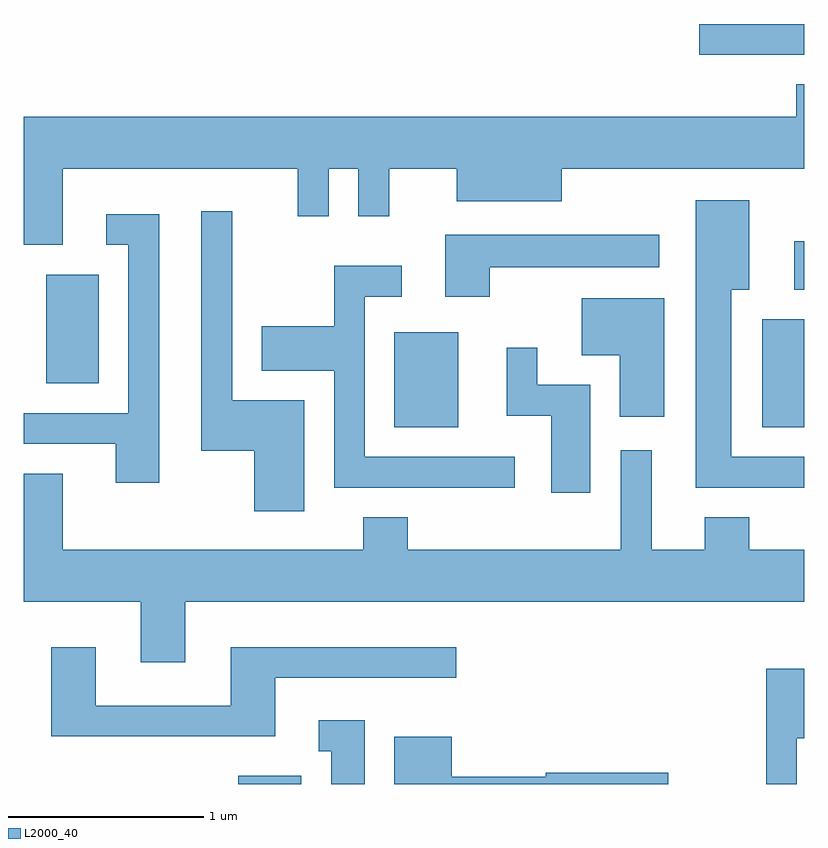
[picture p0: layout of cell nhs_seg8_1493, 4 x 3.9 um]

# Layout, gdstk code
import gdstk
lib = gdstk.Library(unit=1e-6, precision=1e-09)
def R(c, l, rs):  # rectangles x0, y0, x1, y1
    for r in rs: c.add(gdstk.rectangle(r[:2], r[2:], *l))
def P(c, l, *ps):  # polygons
    for p in ps: c.add(gdstk.Polygon(p, *l))
L2000_40 = (2000, 40)

nhs_seg8_1493 = lib.new_cell('nhs_seg8_1493')
R(nhs_seg8_1493, L2000_40, [(230.711,1864.342,231.034,1864.384), (231.511,1866.171,231.839,1866.659), (233.396,1866.171,233.611,1866.724), (229.726,1866.396,229.994,1866.954), (233.561,1866.876,233.611,1867.124), (233.073,1868.081,233.611,1868.239)])
P(nhs_seg8_1493, L2000_40, [(229.809,1867.496),(231.016,1867.496),(231.016,1867.253),(231.174,1867.253),(231.174,1867.496),(231.326,1867.496),(231.326,1867.253),(231.484,1867.253),(231.484,1867.496),(231.831,1867.496),(231.831,1867.331),(232.369,1867.331),(232.369,1867.496),(233.611,1867.496),(233.611,1867.929),(233.571,1867.929),(233.571,1867.764),(229.611,1867.764),(229.611,1867.106),(229.809,1867.106)],
  [(233.611,1866.019),(233.239,1866.019),(233.239,1866.876),(233.329,1866.876),(233.329,1867.334),(233.056,1867.334),(233.056,1865.861),(233.611,1865.861)],
  [(231.049,1866.309),(230.679,1866.309),(230.679,1867.278),(230.521,1867.278),(230.521,1866.051),(230.791,1866.051),(230.791,1865.741),(231.049,1865.741)],
  [(230.304,1867.264),(230.033,1867.264),(230.033,1867.106),(230.146,1867.106),(230.146,1866.244),(229.611,1866.244),(229.611,1866.086),(230.081,1866.086),(230.081,1865.886),(230.304,1865.886)],
  [(231.999,1866.991),(232.868,1866.991),(232.868,1867.159),(231.771,1867.159),(231.771,1866.841),(231.999,1866.841)],
  [(232.128,1866.019),(231.359,1866.019),(231.359,1866.841),(231.548,1866.841),(231.548,1866.999),(231.201,1866.999),(231.201,1866.689),(230.831,1866.689),(230.831,1866.461),(231.201,1866.461),(231.201,1865.861),(232.128,1865.861)],
  [(232.894,1866.834),(232.471,1866.834),(232.471,1866.541),(232.666,1866.541),(232.666,1866.226),(232.894,1866.226)],
  [(232.514,1866.389),(232.244,1866.389),(232.244,1866.578),(232.086,1866.578),(232.086,1866.231),(232.316,1866.231),(232.316,1865.836),(232.514,1865.836)],
  [(230.439,1865.276),(233.611,1865.276),(233.611,1865.544),(233.329,1865.544),(233.329,1865.709),(233.101,1865.709),(233.101,1865.544),(232.829,1865.544),(232.829,1866.053),(232.671,1866.053),(232.671,1865.544),(231.579,1865.544),(231.579,1865.709),(231.351,1865.709),(231.351,1865.544),(229.809,1865.544),(229.809,1865.934),(229.611,1865.934),(229.611,1865.276),(230.211,1865.276),(230.211,1864.966),(230.439,1864.966)],
  [(230.899,1864.886),(231.828,1864.886),(231.828,1865.044),(230.671,1865.044),(230.671,1864.744),(229.979,1864.744),(229.979,1865.044),(229.751,1865.044),(229.751,1864.586),(230.899,1864.586)],
  [(233.574,1864.576),(233.611,1864.576),(233.611,1864.934),(233.416,1864.934),(233.416,1864.342),(233.574,1864.342)],
  [(231.359,1864.669),(231.123,1864.669),(231.123,1864.511),(231.186,1864.511),(231.186,1864.342),(231.359,1864.342)],
  [(232.914,1864.399),(232.286,1864.399),(232.286,1864.379),(231.804,1864.379),(231.804,1864.584),(231.511,1864.584),(231.511,1864.342),(232.914,1864.342)])

lib.write_gds('nhs_seg8_1493.gds')
